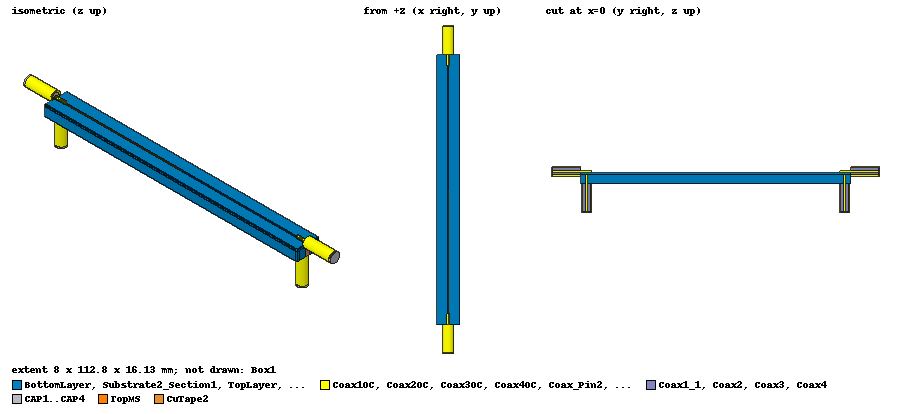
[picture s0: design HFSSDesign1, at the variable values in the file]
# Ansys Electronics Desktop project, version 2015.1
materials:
  vacuum: permittivity=1
  Teflon (tm): permittivity=2.1 dielectric_loss_tangent=0.001
  pec: conductivity=1e+30
  Rogers RT/duroid 5880 (tm): permittivity=2.2 dielectric_loss_tangent=0.0009
  copper: permeability=0.999991 conductivity=58000000

design HFSSDesign1 (HFSS, DrivenModal, model units mm)
options: Allow_Material_Override
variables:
  length = 9.52mm
  radius = (2.5447/2) mm
  pinradius = (.76/2) mm
  topthick = 0.787mm
  linelength = 29mm
  linelength2 = 71mm
  end = 39.945mm
  linelength3 = 2*lambda + 7.62mm
  pinlength = length + 3.81mm
  bottomthick = -3.175mm
  bottom = 0 - topthick - pinradius + bottomthick
  lambda = 42.5516mm
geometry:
  Coax1 = cylinder(axis=Y, base_centre=(0mm, -linelength3/2 - length, 0mm), radius=radius, height=length)
  Coax_Pin1 [pec] = cylinder(axis=Y, base_centre=(0mm, -linelength3/2 - length, 0mm), radius=pinradius, height=pinlength)
  TopLayer [Rogers RT/duroid 5880 (tm)] = box(corner=(-4mm, -linelength3/2, -1*topthick - 1*pinradius), size=(8mm, linelength3, topthick))
  Substrate_Section2 [Rogers RT/duroid 5880 (tm)] = TopLayer.section(plane=YZ)
  Substrate_Section2.thicken(0.5mm, both sides)
  BottomLayer [Rogers RT/duroid 5880 (tm)] = box(corner=(-4mm, -linelength3/2, bottom), size=(8mm, linelength3, -bottomthick))
  GND [Rogers RT/duroid 5880 (tm)] = object_from(BottomLayer.face(-z))
  Substrate2_Section1 [Rogers RT/duroid 5880 (tm)] = BottomLayer.section(plane=YZ)
  Substrate2_Section1.thicken(6mm, both sides)
  Circle1 = circle(normal=Z, centre=(0mm, - linelength3/2 + 2mm, 0 - topthick - pinradius + bottomthick), radius=radius)
  Coax3 [Teflon (tm)] = cylinder(axis=Z, base_centre=(0mm, -linelength3/2 + 2mm, 0 - topthick - pinradius + bottomthick - length), radius=radius, height=length)
  Coax_Pin3 [pec] = cylinder(axis=Z, base_centre=(0mm, -linelength3/2 + 2mm, 0 - pinradius - topthick), radius=pinradius, height=-length + bottomthick)
  Circle2 = circle(normal=Z, centre=(0mm, linelength3/2 - 2, 0 - topthick - pinradius + bottomthick), radius=radius)
  BottomMS = rectangle(corner=(-3mm, -linelength3/2 + 0.5mm, 0 - topthick - pinradius), x_size=6mm, y_size=linelength3/2 - 0.5mm)
  GND.subtract(Circle1)
  GND.subtract(Circle2)
  TopMS = rectangle(corner=(-0.25mm, -linelength3/2, -pinradius), x_size=0.5mm, y_size=linelength3/2)
  Coax1OC [pec] = cylinder(axis=Y, base_centre=(0mm, -linelength3/2 - length, 0mm), radius=radius + 0.5mm, height=length)
  Coax1OC.subtract(Coax1)
  Coax1_1 [Teflon (tm)] = cylinder(axis=Y, base_centre=(0mm, -linelength3/2 - length, 0mm), radius=radius, height=length)
  Coax3OC [pec] = cylinder(axis=Z, base_centre=(0mm, -linelength3/2 + 2mm, 0 - topthick - pinradius + bottomthick - length), radius=radius + 0.5mm, height=length)
  Coax3_1 = Coax3.copy()
  Coax3OC.subtract(Coax3_1)
  Coax2OC [pec] = cylinder(axis=Y, base_centre=(0mm, linelength3/2, 0mm), radius=radius + 0.5mm, height=length)
  Coax2 [Teflon (tm)] = cylinder(axis=Y, base_centre=(0mm, linelength3/2, 0mm), radius=radius, height=length)
  Coax2_1 = Coax2.copy()
  Coax2OC.subtract(Coax2_1)
  Coax_Pin2 [pec] = cylinder(axis=Y, base_centre=(0mm, linelength3/2 - (pinlength - length), 0mm), radius=pinradius, height=pinlength)
  Circle3 = circle(normal=Z, centre=(0mm, - linelength3/2 + 2mm, 0 - topthick - pinradius + bottomthick), radius=radius)
  GND.subtract(Circle3)
  Circle4 = circle(normal=Z, centre=(0mm, linelength3/2 - 2mm, 0 - topthick - pinradius + bottomthick), radius=radius)
  GND.subtract(Circle4)
  Coax4OC [pec] = cylinder(axis=Z, base_centre=(0mm, linelength3/2 - 2mm, 0 - topthick - pinradius + bottomthick - length), radius=radius+0.5mm, height=length)
  Coax_Pin4 [pec] = cylinder(axis=Z, base_centre=(0mm, linelength3/2 - 2mm, 0 - topthick - pinradius), radius=pinradius, height=-length + bottomthick)
  CAP1 [pec] = cylinder(axis=Y, base_centre=(0mm, -linelength3/2 - length, 0mm), radius=radius + 0.5mm, height=-0.5mm)
  Circle5 = circle(normal=Y, centre=(0mm, -linelength3/2 - length, 0mm), radius=radius + 0.5mm)
  Circle6 = circle(normal=Y, centre=(0mm, linelength3/2 + length, 0mm), radius=radius + 0.5mm)
  CAP2 [pec] = cylinder(axis=Y, base_centre=(0mm, linelength3/2 + length, 0mm), radius=radius + 0.5mm, height=0.5mm)
  Circle7 = circle(normal=Z, centre=(0mm, -linelength3/2 + 2mm, 0 - topthick - pinradius + bottomthick - length), radius=radius + 0.5mm)
  CAP3 [pec] = cylinder(axis=Z, base_centre=(0mm, -linelength3/2 + 2mm, 0 - topthick - pinradius + bottomthick - length), radius=radius + 0.5mm, height=-0.5mm)
  Circle8 = circle(normal=Z, centre=(0mm, linelength3/2 - 2mm, 0 - pinradius - topthick + bottomthick - length), radius=radius + 0.5mm)
  CAP4 [pec] = cylinder(axis=Z, base_centre=(0mm, linelength3/2 - 2mm, 0 - pinradius - topthick + bottomthick - length), radius=radius + 0.5mm, height=-0.5mm)
  CuTape2 = rectangle(corner=(-radius/2, linelength3/2 - 0.5mm, 0 - pinradius - topthick + bottomthick), x_size=radius, y_size=0.5mm)
  Rectangle3 = rectangle(corner=(-radius/2, linelength3/2, 0 - topthick - pinradius + bottomthick), z_size=-bottomthick - pinradius, x_size=radius)
  CuTape2.unite(Rectangle3)
  CuTape1 = rectangle(corner=(-radius/2, -linelength3/2, 0 - pinradius - topthick + bottomthick), z_size=-bottomthick - pinradius, x_size=radius)
  Rectangle5 = rectangle(corner=(-radius/2, -linelength3/2, 0 - topthick - pinradius + bottomthick), x_size=radius, y_size=0.5mm)
  CuTape1.unite(Rectangle5)
  Box1 [vacuum] = box(corner=(-4mm - lambda/4, -linelength3/2 - length - lambda/4 - 0.5mm, bottom - length - 0.5mm - lambda/4), size=(8mm + lambda/2, linelength3 + 2*length + 1mm + lambda/2, length - bottom + 0.5mm + radius + lambda/2))
  CuTape1_1 = CuTape1.copy()
  GND.subtract(CuTape1_1)
  CuTape2_1 = CuTape2.copy()
  GND.subtract(CuTape2_1)
  Coax4 [Teflon (tm)] = cylinder(axis=Z, base_centre=(0mm, linelength3/2 - 2mm, 0 - topthick - pinradius + bottomthick - length), radius=radius, height=length)
  Coax4_1 = Coax4.copy()
  Coax4OC.subtract(Coax4_1)
  Rectangle6 = rectangle(corner=(-0.25mm, 0mm, -pinradius), x_size=0.5mm, y_size=-0.5mm)
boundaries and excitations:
  GNDPFE: Perfect E Objects=GND
  BMSPE: Perfect E Objects=BottomMS
  TMSPE: Perfect E Objects=TopMS
  PerfE1: Perfect E Objects=CuTape2
  PerfE2: Perfect E Objects=CuTape1
  Rad1: Radiation Objects=Box1
  LumpRLC1: Lumped RLC Objects=Rectangle6 CurrentLine{middle of Rectangle6.edge(y opposite corner) -> middle of Rectangle6.edge(y at corner)} Resistance=50ohm
  1: Wave Port Objects=Circle5 NumModes=1 Modes{Mode1{IntLine{Circle5.vertex(1 of 1) -> centre of Circle5.face} CharImp=Zpi}}
  2: Wave Port Objects=Circle7 NumModes=1 Modes{Mode1{CharImp=Zpi}}
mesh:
  initial mesh: GlobalSurfApproximation{SurfDevChoice=0 NormalDevChoice=1 AspectRatioChoice=1 SetFacePreservationLevel=0}
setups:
  Setup1: HfssDriven Frequency=4.75GHz MaxDeltaS=0.02 MaximumPasses=10 MinimumPasses=1 MinimumConvergedPasses=1 PercentRefinement=30 BasisOrder=1 PortAccuracy=2
    sweep Sweep: 3GHz to 6.5GHz step 0.1GHz; Type=Interpolating InterpTolerance=0.5 InterpMaxSolns=250 InterpUsePortImped=false PassivityErrorTolerance=0.0001
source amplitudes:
  1:1: 1W 0deg
  2:1: 0W 0deg
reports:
  Reflect S-Parameters: dB(S(1,1)), dB(S(2,1)), dB(S(3,3)), dB(S(4,3)) vs Freq on Setup1 : Sweep
  Port Zo: re(Zo(1)), re(Zo(2)), re(Zo(3)), re(Zo(4)) vs Freq on Setup1 : Sweep
  Data Table 1: re(S(1,1)), re(S(1,2)), re(S(2,1)), re(S(2,2)) vs Freq on Setup1 : Sweep
  Data Table 2: im(S(1,1)), im(S(1,2)), im(S(2,1)), im(S(2,2)) vs Freq on Setup1 : Sweep
  XY Plot 1: dB(S(1,1)), dB(S(1,2)), dB(S(2,1)), dB(S(2,2)) vs Freq on Setup1 : Sweep
